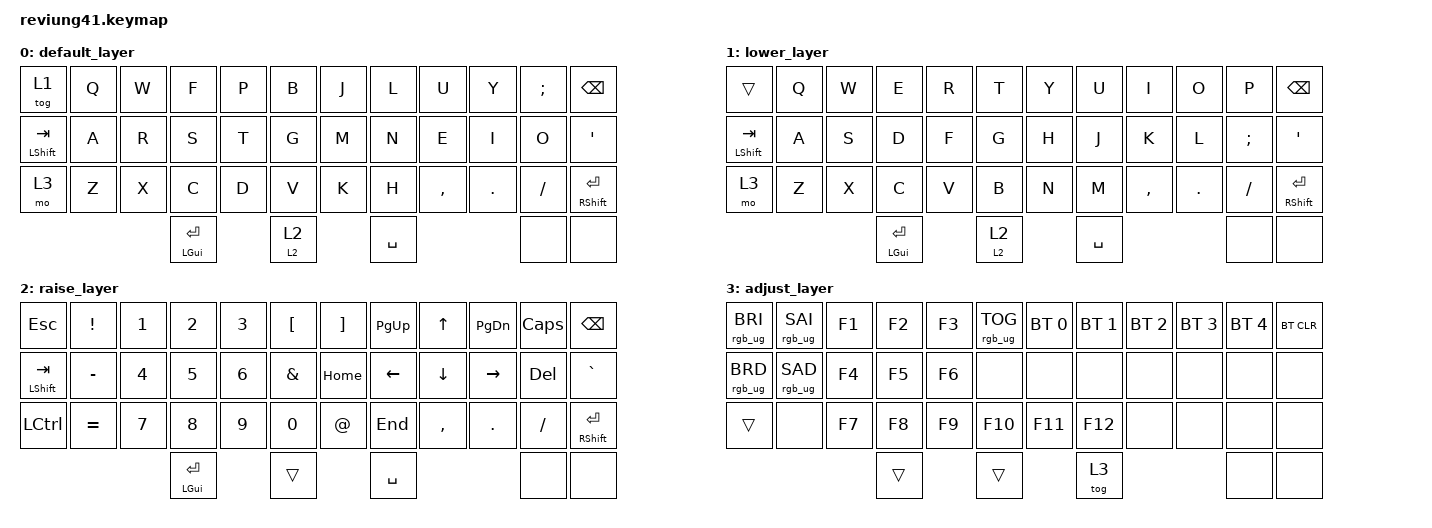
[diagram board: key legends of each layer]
/*
 * Copyright (c) 2020 The ZMK Contributors
 *
 * SPDX-License-Identifier: MIT
 */

#include <behaviors.dtsi>
#include <dt-bindings/zmk/keys.h>
#include <dt-bindings/zmk/bt.h>
#include <dt-bindings/zmk/rgb.h>

/ {
    behaviors {
        mo_tog: behavior_mo_tog {
            compatible = "zmk,behavior-hold-tap";
            label = "mo_tog";
            #binding-cells = <2>;
            flavor = "hold-preferred";
            tapping-term-ms = <200>;
            bindings = <&mo>, <&tog>;
        };
    };
};


/ {
        keymap {
                compatible = "zmk,keymap";

                default_layer {
                //colemak dh layer
// -------------------------------------------------------------------------------------
// |  toggle qwerty layer |  Q  |  W  |  F  |  P  |  B  |   |  J  |  L   |  U  |  Y  |  ;  |   BKSP    |
// |    TAB & Shift       |  A  |  R  |  S  |  T  |  G  |   |  M  |  N   |  E  |  I  |  O  |    '      |
// |    BT layer          |  Z  |  X  |  C  |  D  |  V  |   |  K  |  H   |  ,  |  .  |  /  | SHFT(RET) |
//                    | lower layer and return | hold/toggle raise layer | SPC | none  | &none |
                        bindings = <
   &tog 1        &kp Q &kp W &kp F &kp P &kp B   &kp J &kp L  &kp U     &kp Y   &kp SEMI    &kp BSPC
   &mt LSHFT TAB &kp A &kp R &kp S &kp T &kp G   &kp M &kp N  &kp E     &kp I   &kp O       &kp SQT
   &mo 3         &kp Z &kp X &kp C &kp D &kp V   &kp K &kp H  &kp COMMA &kp DOT &kp FSLH    &mt RSHFT RET
                              &mt LGUI RET   &mo_tog 2 2  &kp SPACE          &none  &none //these last two on the right side do not register
                        >;
                };

                lower_layer {
                //qwerty layer
// ----------------------------------------------------------------------------------
// |  toggle qwerty layer |  Q  |  W  |  E  |  R  |  T  |   |  Y  |  U   |  I  |  O  |  P  |   BKSP    |
// |    TAB & Shift       |  A  |  S  |  D  |  F  |  G  |   |  H  |  J   |  K  |  L  |  ;  |    '      |
// |    BT layer          |  Z  |  X  |  C  |  V  |  B  |   |  N  |  M   |  ,  |  .  |  /  | SHFT(RET) |
//                    | lower layer and return | hold/toggle raise layer | SPC | none  | &none |
                        bindings = <
   &trans        &kp Q &kp W &kp E &kp R &kp T   &kp Y &kp U  &kp I     &kp O   &kp P    &kp BSPC
   &mt LSHFT TAB &kp A &kp S &kp D &kp F &kp G   &kp H &kp J  &kp K     &kp L   &kp SEMI &kp SQT
   &mo 3         &kp Z &kp X &kp C &kp V &kp B   &kp N &kp M  &kp COMMA &kp DOT &kp FSLH &mt RSHFT RET
                              &mt LGUI RET   &mo_tog 2 2 &kp SPACE          &none  &none //these last two on the right side do not register
                        >;
                };

                raise_layer {
                  //Numbers and Arrows layer
// -----------------------------------------------------------------------------------------
// |       ESC       |  !  |  1  |  2  |  3  |  [  |   |  ]    |  PGUP  | Up    |  PGDN  |  CAPSLOCK  | DEL |
// |  TAB & Shift  |  -  |  4  |  5  |  6  |  &  |   | Home  | Left   | Down  | Right  |   del      | `  |
// |  Control      |  =  |  7  |  8  |  9  |  0  |   |  @    | End    |  ,    |   .    |    /       | shift |
//                     |  command and return   | trans | space |    |     |
                        bindings = <
   &kp ESC        &kp EXCL &kp N1    &kp N2    &kp N3    &kp LBKT      &kp RBKT         &kp PG_UP   &kp UP    &kp PG_DN    &kp CLCK    &kp BSPC
   &mt LSHFT TAB    &kp MINUS &kp N4    &kp N5    &kp N6    &kp AMPS      &kp HOME         &kp LEFT    &kp DOWN  &kp RIGHT    &kp DEL     &kp GRAVE
   &kp LCTRL        &kp EQUAL    &kp N7    &kp N8    &kp N9    &kp N0        &kp AT    &kp END     &kp COMMA &kp DOT      &kp FSLH    &mt RSHFT RET
                                                   &mt LGUI RET      &trans       &kp SPACE             &none      &none
                        >;
                };

                adjust_layer {
                  //F2 and BT layer
// -----------------------------------------------------------------------------------------
// | RGB BRI+ | RGB SAT+ | F1 | F2 | F3   | RGB TOG |   |  BT1  | BT2 | BT3 | BT4 | BT5 | BT CLR |
// | RGB BRI- | RGB SAT- | F4 | F5 | F6   |         |   |       |     |     |     |     |        |
// |          |          | F7 | F8 | F9   |  F10    |   |  F11  | F12 |     |     |     |   todo:MOUSE LAYER     |        
//                                              |  ?   |   ?  |  ?   |  x   |  x   |
                        bindings = <
   &rgb_ug RGB_BRI &rgb_ug RGB_SAI &kp F1 &kp F2 &kp F3 &rgb_ug RGB_TOG     &bt BT_SEL 0 &bt BT_SEL 1 &bt BT_SEL 2 &bt BT_SEL 3 &bt BT_SEL 4 &bt BT_CLR
   &rgb_ug RGB_BRD &rgb_ug RGB_SAD &kp F4 &kp F5 &kp F6 &none               &none        &none        &none        &none        &none        &none
   &trans           &none           &kp F7 &kp F8 &kp F9 &kp F10            &kp F11      &kp F12      &none        &none        &none        &none
                                                     &trans      &trans       &tog 3                  &none      &none
                        >;
                };
        };
};


